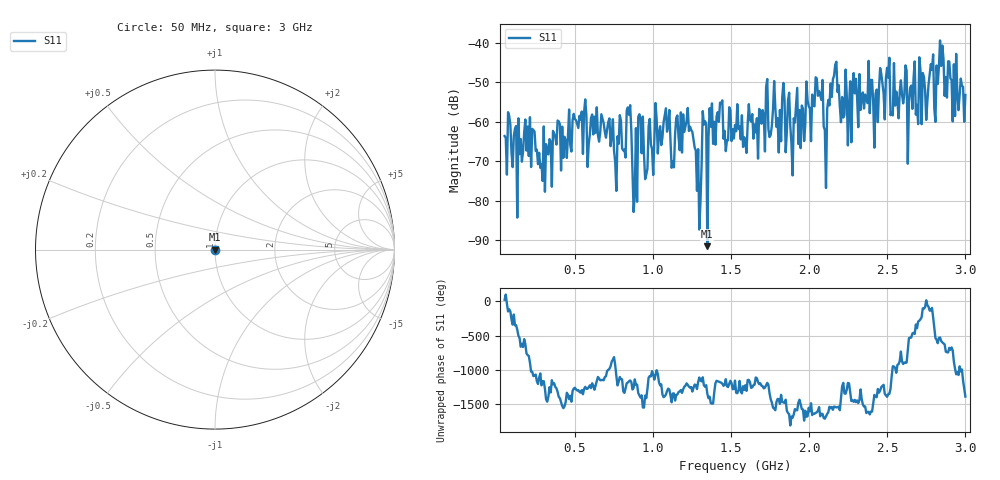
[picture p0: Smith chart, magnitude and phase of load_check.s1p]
! nanovna_capture.py 2026-11-02T23:05:40+0900
! NanoVNA-F_V2 fw 0.6.0 SN 4A3639384505514B
! cal: load open short cal'ed  over 50000000-3000000000 Hz, 201 points
! points 401, avg 4
! load standard still on the ~10 cm extension cable right after SOL cal there (check)
# HZ S RI R 50
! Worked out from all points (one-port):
!   401 points, 50 MHz to 3 GHz, reference 50 ohm
!   lowest |S11| = -91.4 dB at 1.348 GHz (marker M1), VSWR 1.00, Z = 50 + j0.00267 ohm
!   |S11| at or under -10 dB: start of sweep to end of sweep
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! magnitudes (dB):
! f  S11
! 50 MHz  -63.6
! 418.8 MHz  -61.2
! 558.9 MHz  -57.6
! 765.4 MHz  -77.5
! 787.5 MHz  -58.3
! 846.5 MHz  -58.2
! 883.4 MHz  -78.1
! 920.2 MHz  -59.2
! 957.1 MHz  -73.3
! 1.156 GHz  -58.3
! 1.237 GHz  -61.2
! 1.296 GHz  -87.2
! 1.326 GHz  -60.7
! 1.348 GHz  -91.4
! 1.429 GHz  -55.1
! 1.466 GHz  -67.4
! 1.525 GHz  -60.8
! 1.827 GHz  -53.8
! 1.894 GHz  -73.5
! 2.056 GHz  -53.4
! 2.108 GHz  -76.7
! 2.167 GHz  -45.5
! 2.263 GHz  -49.7
! 2.292 GHz  -52.8
! 2.631 GHz  -70.6
! 2.816 GHz  -45.7
! 2.845 GHz  -45.8
! 3 GHz  -53.2
